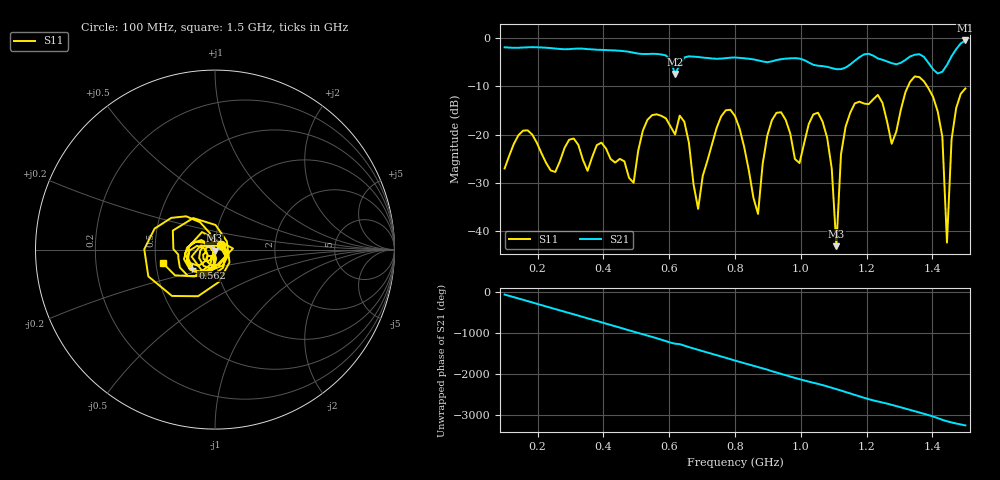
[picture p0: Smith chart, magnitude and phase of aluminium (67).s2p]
! NanoVNA-App
! Date: 2025-09-25 14:55:48
! Start: 100MHz Stop: 1,5GHz Points: 101
! S-Parameter data: F S11 S21 S12 S22
# Hz S RI R 50
!  Frequency  S11_Real  S11_Imag  S21_Real  S21_Imag  S12_Real  S12_Imag  S22_Real  S22_Imag
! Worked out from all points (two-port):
!   101 points, 100 MHz to 1.5 GHz, reference 50 ohm
!   highest |S21| = -0.51 dB at 1.5 GHz (marker M1); lowest = -7.4 dB at 618 MHz (marker M2)
!   |S21| within 3 dB of the highest: start of sweep to 583.2 MHz; 1.461 GHz to end of sweep (the widest 2 of 4)
!   lowest |S11| = -43.1 dB at 1.108 GHz (marker M3), VSWR 1.01, Z = 49.7 - j0.641 ohm
!   |S11| at or under -10 dB: start of sweep to 1.326 GHz; 1.384 GHz to end of sweep
!   S12 and S22 are empty: the file has one direction only
!   S11 on the Smith chart (normalised r, x): 100 MHz: 1.07, +0.06; 562 MHz: 0.76, -0.16; 1.5 GHz: 0.54, -0.09
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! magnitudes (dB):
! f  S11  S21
! 100 MHz  -27.0  -1.9
! 338 MHz  -25.2  -2.2
! 492 MHz  -30.0  -3.0
! 562 MHz  -15.8  -3.3
! 576 MHz  -16.1  -3.4
! 618 MHz  -20.0  -7.4
! 688 MHz  -35.4  -3.9
! 800 MHz  -16.1  -4.0
! 870 MHz  -36.4  -4.6
! 912 MHz  -17.0  -4.8
! 996 MHz  -25.9  -4.2
! 1.038 GHz  -15.8  -5.5
! 1.08 GHz  -20.6  -6.0
! 1.108 GHz  -43.1  -6.5
! 1.122 GHz  -24.1  -6.4
! 1.164 GHz  -13.5  -4.7
! 1.276 GHz  -21.9  -5.2
! 1.388 GHz  -10.4  -5.2
! 1.43 GHz  -20.4  -7.0
! 1.444 GHz  -42.3  -5.6
! 1.458 GHz  -21.0  -3.8
! 1.5 GHz  -10.4  -0.5
